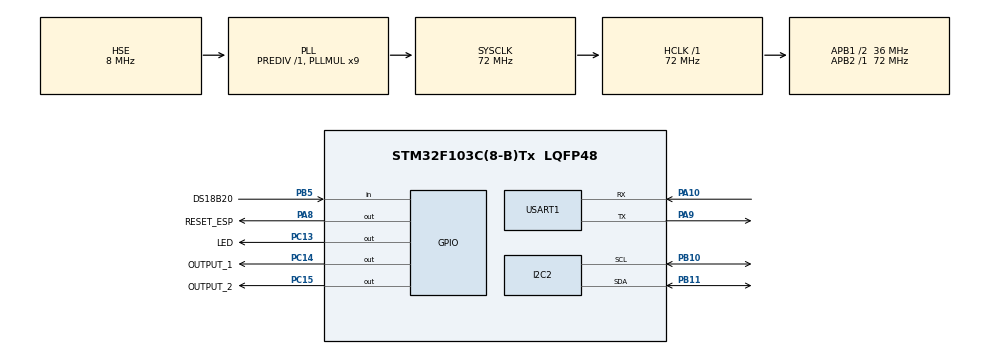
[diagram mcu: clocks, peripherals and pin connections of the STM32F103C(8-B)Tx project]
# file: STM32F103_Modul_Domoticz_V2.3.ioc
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Dma.Request0=USART1_RX
Dma.Request1=USART1_TX
Dma.USART1_RX.0.Direction=DMA_PERIPH_TO_MEMORY
Dma.USART1_RX.0.Instance=DMA1_Channel5
Dma.USART1_RX.0.MemDataAlignment=DMA_MDATAALIGN_BYTE
Dma.USART1_RX.0.MemInc=DMA_MINC_ENABLE
Dma.USART1_RX.0.Mode=DMA_NORMAL
Dma.USART1_RX.0.PeriphDataAlignment=DMA_PDATAALIGN_BYTE
Dma.USART1_RX.0.PeriphInc=DMA_PINC_DISABLE
Dma.USART1_RX.0.Priority=DMA_PRIORITY_LOW
Dma.USART1_TX.1.Direction=DMA_MEMORY_TO_PERIPH
Dma.USART1_TX.1.Instance=DMA1_Channel4
Dma.USART1_TX.1.MemDataAlignment=DMA_MDATAALIGN_BYTE
Dma.USART1_TX.1.MemInc=DMA_MINC_ENABLE
Dma.USART1_TX.1.Mode=DMA_NORMAL
Dma.USART1_TX.1.PeriphDataAlignment=DMA_PDATAALIGN_BYTE
Dma.USART1_TX.1.PeriphInc=DMA_PINC_DISABLE
Dma.USART1_TX.1.Priority=DMA_PRIORITY_LOW
Mcu.Family=STM32F1
Mcu.Name=STM32F103C(8-B)Tx
Mcu.Package=LQFP48
NVIC.DMA1_Channel4_IRQn=true\:0\:0\:false\:false\:true\:false\:true
NVIC.DMA1_Channel5_IRQn=true\:0\:0\:false\:false\:true\:false\:true
NVIC.PriorityGroup=NVIC_PRIORITYGROUP_4
NVIC.USART1_IRQn=true\:0\:0\:false\:true\:true\:1\:true\:true
PA10.Mode=Asynchronous
PA10.Signal=USART1_RX
PA13.Mode=Trace_Asynchronous_SW
PA13.Signal=SYS_JTMS-SWDIO
PA14.Mode=Trace_Asynchronous_SW
PA14.Signal=SYS_JTCK-SWCLK
PA8.GPIO_Label=RESET_ESP
PA8.Signal=GPIO_Output
PA9.Mode=Asynchronous
PA9.Signal=USART1_TX
PB10.Mode=I2C
PB10.Signal=I2C2_SCL
PB11.Mode=I2C
PB11.Signal=I2C2_SDA
PB3.Mode=Trace_Asynchronous_SW
PB3.Signal=SYS_JTDO-TRACESWO
PB5.GPIO_Label=DS18B20
PB5.Signal=GPIO_Input
PC13-TAMPER-RTC.GPIO_Label=LED
PC13-TAMPER-RTC.Signal=GPIO_Output
PC14-OSC32_IN.GPIO_Label=OUTPUT_1
PC14-OSC32_IN.Signal=GPIO_Output
PC15-OSC32_OUT.GPIO_Label=OUTPUT_2
PC15-OSC32_OUT.Signal=GPIO_Output
PD0-OSC_IN.Mode=HSE-External-Oscillator
PD0-OSC_IN.Signal=RCC_OSC_IN
PD1-OSC_OUT.Mode=HSE-External-Oscillator
PD1-OSC_OUT.Signal=RCC_OSC_OUT
ProjectManager.HeapSize=0x200
ProjectManager.StackSize=0x400
ProjectManager.TargetToolchain=STM32CubeIDE
RCC.AHBFreq_Value=72000000
RCC.APB1CLKDivider=RCC_HCLK_DIV2
RCC.APB1Freq_Value=36000000
RCC.APB1TimFreq_Value=72000000
RCC.APB2Freq_Value=72000000
RCC.APB2TimFreq_Value=72000000
RCC.HCLKFreq_Value=72000000
RCC.PLLMUL=RCC_PLL_MUL9
RCC.PLLSourceVirtual=RCC_PLLSOURCE_HSE
RCC.SYSCLKFreq_VALUE=72000000
RCC.SYSCLKSource=RCC_SYSCLKSOURCE_PLLCLK
RCC.USBFreq_Value=72000000
USART1.VirtualMode=VM_ASYNC
board=custom

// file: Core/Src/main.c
/* USER CODE BEGIN Header */
/**
  ******************************************************************************
  * @file           : main.c
  * @brief          : Main program body
  ******************************************************************************
  * @attention
  *
  * <h2><center>&copy; Copyright (c) 2020 STMicroelectronics.
  * All rights reserved.</center></h2>
  *
  * This software component is licensed by ST under BSD 3-Clause license,
  * the "License"; You may not use this file except in compliance with the
  * License. You may obtain a copy of the License at:
  *                        opensource.org/licenses/BSD-3-Clause
  *
  ******************************************************************************
  */
/* USER CODE END Header */
#include "main.h"
#include "dma.h"
#include "i2c.h"
#include "usart.h"
#include "gpio.h"

/* USER CODE BEGIN Includes */
#include "UART_DMA.h"
#include "string.h"
#include "Zmienne.h"
/* USER CODE END Includes */

/* USER CODE BEGIN PTD */
UARTDMA_HandlerTypeDef huartdma;
/* USER CODE END PTD */

void SystemClock_Config(void);
static void MX_NVIC_Init(void);

/* USER CODE BEGIN 0 */
void UART_ParseLED()
{
	uint8_t LedState; // Received state variable

	char* ParsePointer = strtok(NULL, ","); // Look for next token or end of string
	// Should be now: ParsePointer == 1'\0'

	if(strlen(ParsePointer) > 0) // If string exists
	{
		if(ParsePointer[0] < '0' || ParsePointer[0] > '9') // Chceck if there are only numbers
		{
			UARTDMA_Print(&huartdma, "LED wrong value. Don't use letters dude!\r\n"); // Print message
			return;	// And exit parsing
		}

		LedState = atoi(ParsePointer); // If there are no chars, change string to integer

		if(LedState == 1) // LED ON
		{
			HAL_GPIO_WritePin(LED_GPIO_Port, LED_Pin, GPIO_PIN_SET);
			UARTDMA_Print(&huartdma, "LED On\r\n");
		}
		else if(LedState == 0) // LED OFF
		{
			HAL_GPIO_WritePin(LED_GPIO_Port, LED_Pin, GPIO_PIN_RESET);
			UARTDMA_Print(&huartdma, "LED Off\r\n");
		}
		else if(LedState == 3) // LED OFF
		{
			HAL_GPIO_TogglePin(LED_GPIO_Port, LED_Pin);
			UARTDMA_Print(&huartdma, "LED Toggle\r\n");
		}
		else // Wrong state number
		{
			UARTDMA_Print(&huartdma, "LED wrong value. Use 0 or 1.\r\n");
		}
	}
}
/* USER CODE END 0 */

int main(void)
{

  /* MCU Configuration--------------------------------------------------------*/

  /* Reset of all peripherals, Initializes the Flash interface and the Systick. */
  HAL_Init();

  /* Configure the system clock */
  SystemClock_Config();

  /* Initialize all configured peripherals */
  MX_GPIO_Init();
  MX_DMA_Init();
  MX_USART1_UART_Init();
  MX_I2C2_Init();

  /* Initialize interrupts */
  MX_NVIC_Init();
  /* USER CODE BEGIN 2 */
  UARTDMA_Init(&huartdma, &huart1);
  /* USER CODE END 2 */

  /* Infinite loop */
  /* USER CODE BEGIN WHILE */
  while (1)
  {
	  if(UARTDMA_IsDataReceivedReady(&huartdma))
	  	  {
		  UART_ParseLED();
	  	  }
	  UARTDMA_TransmitEvent(&huartdma);
    /* USER CODE END WHILE */

  }
}

void SystemClock_Config(void)
{
  RCC_OscInitTypeDef RCC_OscInitStruct = {0};
  RCC_ClkInitTypeDef RCC_ClkInitStruct = {0};

  /** Initializes the RCC Oscillators according to the specified parameters
  * in the RCC_OscInitTypeDef structure.
  */
  RCC_OscInitStruct.OscillatorType = RCC_OSCILLATORTYPE_HSE;
  RCC_OscInitStruct.HSEState = RCC_HSE_ON;
  RCC_OscInitStruct.HSEPredivValue = RCC_HSE_PREDIV_DIV1;
  RCC_OscInitStruct.HSIState = RCC_HSI_ON;
  RCC_OscInitStruct.PLL.PLLState = RCC_PLL_ON;
  RCC_OscInitStruct.PLL.PLLSource = RCC_PLLSOURCE_HSE;
  RCC_OscInitStruct.PLL.PLLMUL = RCC_PLL_MUL9;
  if (HAL_RCC_OscConfig(&RCC_OscInitStruct) != HAL_OK)
  {
    Error_Handler();
  }
  /** Initializes the CPU, AHB and APB buses clocks
  */
  RCC_ClkInitStruct.ClockType = RCC_CLOCKTYPE_HCLK|RCC_CLOCKTYPE_SYSCLK
                              |RCC_CLOCKTYPE_PCLK1|RCC_CLOCKTYPE_PCLK2;
  RCC_ClkInitStruct.SYSCLKSource = RCC_SYSCLKSOURCE_PLLCLK;
  RCC_ClkInitStruct.AHBCLKDivider = RCC_SYSCLK_DIV1;
  RCC_ClkInitStruct.APB1CLKDivider = RCC_HCLK_DIV2;
  RCC_ClkInitStruct.APB2CLKDivider = RCC_HCLK_DIV1;

  if (HAL_RCC_ClockConfig(&RCC_ClkInitStruct, FLASH_LATENCY_2) != HAL_OK)
  {
    Error_Handler();
  }
}

/**
  * @brief NVIC Configuration.
  * @retval None
  */
static void MX_NVIC_Init(void)
{
  /* USART1_IRQn interrupt configuration */
  HAL_NVIC_SetPriority(USART1_IRQn, 0, 0);
  HAL_NVIC_EnableIRQ(USART1_IRQn);
}

void Error_Handler(void)
{
}

/************************ (C) COPYRIGHT STMicroelectronics *****END OF FILE****/
